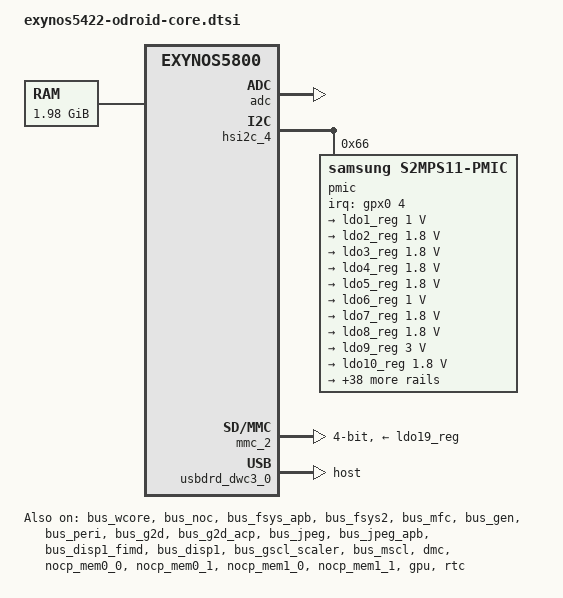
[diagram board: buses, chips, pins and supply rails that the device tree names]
// SPDX-License-Identifier: GPL-2.0
/*
 * Hardkernel Odroid XU3/XU3-Lite/XU4/HC1 boards core device tree source
 *
 * Copyright (c) 2017 Marek Szyprowski
 * Copyright (c) 2013-2017 Samsung Electronics Co., Ltd.
 *		http://www.samsung.com
 */

#include <dt-bindings/clock/samsung,s2mps11.h>
#include <dt-bindings/interrupt-controller/irq.h>
#include <dt-bindings/gpio/gpio.h>
#include "exynos5800.dtsi"
#include "exynos5422-cpus.dtsi"

/ {
	memory@40000000 {
		device_type = "memory";
		reg = <0x40000000 0x7EA00000>;
	};

	chosen {
		stdout-path = "serial2:115200n8";
	};

	firmware@2073000 {
		compatible = "samsung,secure-firmware";
		reg = <0x02073000 0x1000>;
	};

	fixed-rate-clocks {
		oscclk {
			compatible = "samsung,exynos5420-oscclk";
			clock-frequency = <24000000>;
		};
	};

	bus_wcore_opp_table: opp-table2 {
		compatible = "operating-points-v2";

		/* derived from 532MHz MPLL */
		opp00 {
			opp-hz = /bits/ 64 <88700000>;
			opp-microvolt = <925000 925000 1400000>;
		};
		opp01 {
			opp-hz = /bits/ 64 <133000000>;
			opp-microvolt = <950000 950000 1400000>;
		};
		opp02 {
			opp-hz = /bits/ 64 <177400000>;
			opp-microvolt = <950000 950000 1400000>;
		};
		opp03 {
			opp-hz = /bits/ 64 <266000000>;
			opp-microvolt = <950000 950000 1400000>;
		};
		opp04 {
			opp-hz = /bits/ 64 <532000000>;
			opp-microvolt = <1000000 1000000 1400000>;
		};
	};

	bus_noc_opp_table: opp-table3 {
		compatible = "operating-points-v2";

		/* derived from 666MHz CPLL */
		opp00 {
			opp-hz = /bits/ 64 <66600000>;
		};
		opp01 {
			opp-hz = /bits/ 64 <74000000>;
		};
		opp02 {
			opp-hz = /bits/ 64 <83250000>;
		};
		opp03 {
			opp-hz = /bits/ 64 <111000000>;
		};
	};

	bus_fsys_apb_opp_table: opp-table4 {
		compatible = "operating-points-v2";

		/* derived from 666MHz CPLL */
		opp00 {
			opp-hz = /bits/ 64 <111000000>;
		};
		opp01 {
			opp-hz = /bits/ 64 <222000000>;
		};
	};

	bus_fsys2_opp_table: opp-table5 {
		compatible = "operating-points-v2";

		/* derived from 600MHz DPLL */
		opp00 {
			opp-hz = /bits/ 64 <75000000>;
		};
		opp01 {
			opp-hz = /bits/ 64 <120000000>;
		};
		opp02 {
			opp-hz = /bits/ 64 <200000000>;
		};
	};

	bus_mfc_opp_table: opp-table6 {
		compatible = "operating-points-v2";

		/* derived from 666MHz CPLL */
		opp00 {
			opp-hz = /bits/ 64 <83250000>;
		};
		opp01 {
			opp-hz = /bits/ 64 <111000000>;
		};
		opp02 {
			opp-hz = /bits/ 64 <166500000>;
		};
		opp03 {
			opp-hz = /bits/ 64 <222000000>;
		};
		opp04 {
			opp-hz = /bits/ 64 <333000000>;
		};
	};

	bus_gen_opp_table: opp-table7 {
		compatible = "operating-points-v2";

		/* derived from 532MHz MPLL */
		opp00 {
			opp-hz = /bits/ 64 <88700000>;
		};
		opp01 {
			opp-hz = /bits/ 64 <133000000>;
		};
		opp02 {
			opp-hz = /bits/ 64 <178000000>;
		};
		opp03 {
			opp-hz = /bits/ 64 <266000000>;
		};
	};

	bus_peri_opp_table: opp-table8 {
		compatible = "operating-points-v2";

		/* derived from 666MHz CPLL */
		opp00 {
			opp-hz = /bits/ 64 <66600000>;
		};
	};

	bus_g2d_opp_table: opp-table9 {
		compatible = "operating-points-v2";

		/* derived from 666MHz CPLL */
		opp00 {
			opp-hz = /bits/ 64 <83250000>;
		};
		opp01 {
			opp-hz = /bits/ 64 <111000000>;
		};
		opp02 {
			opp-hz = /bits/ 64 <166500000>;
		};
		opp03 {
			opp-hz = /bits/ 64 <222000000>;
		};
		opp04 {
			opp-hz = /bits/ 64 <333000000>;
		};
	};

	bus_g2d_acp_opp_table: opp-table10 {
		compatible = "operating-points-v2";

		/* derived from 532MHz MPLL */
		opp00 {
			opp-hz = /bits/ 64 <66500000>;
		};
		opp01 {
			opp-hz = /bits/ 64 <133000000>;
		};
		opp02 {
			opp-hz = /bits/ 64 <178000000>;
		};
		opp03 {
			opp-hz = /bits/ 64 <266000000>;
		};
	};

	bus_jpeg_opp_table: opp-table11 {
		compatible = "operating-points-v2";

		/* derived from 600MHz DPLL */
		opp00 {
			opp-hz = /bits/ 64 <75000000>;
		};
		opp01 {
			opp-hz = /bits/ 64 <150000000>;
		};
		opp02 {
			opp-hz = /bits/ 64 <200000000>;
		};
		opp03 {
			opp-hz = /bits/ 64 <300000000>;
		};
	};

	bus_jpeg_apb_opp_table: opp-table12 {
		compatible = "operating-points-v2";

		/* derived from 666MHz CPLL */
		opp00 {
			opp-hz = /bits/ 64 <83250000>;
		};
		opp01 {
			opp-hz = /bits/ 64 <111000000>;
		};
		opp02 {
			opp-hz = /bits/ 64 <133000000>;
		};
		opp03 {
			opp-hz = /bits/ 64 <166500000>;
		};
	};

	bus_disp1_fimd_opp_table: opp-table13 {
		compatible = "operating-points-v2";

		/* derived from 600MHz DPLL */
		opp00 {
			opp-hz = /bits/ 64 <120000000>;
		};
		opp01 {
			opp-hz = /bits/ 64 <200000000>;
		};
	};

	bus_disp1_opp_table: opp-table14 {
		compatible = "operating-points-v2";

		/* derived from 600MHz DPLL */
		opp00 {
			opp-hz = /bits/ 64 <120000000>;
		};
		opp01 {
			opp-hz = /bits/ 64 <200000000>;
		};
		opp02 {
			opp-hz = /bits/ 64 <300000000>;
		};
	};

	bus_gscl_opp_table: opp-table15 {
		compatible = "operating-points-v2";

		/* derived from 600MHz DPLL */
		opp00 {
			opp-hz = /bits/ 64 <150000000>;
		};
		opp01 {
			opp-hz = /bits/ 64 <200000000>;
		};
		opp02 {
			opp-hz = /bits/ 64 <300000000>;
		};
	};

	bus_mscl_opp_table: opp-table16 {
		compatible = "operating-points-v2";

		/* derived from 666MHz CPLL */
		opp00 {
			opp-hz = /bits/ 64 <84000000>;
		};
		opp01 {
			opp-hz = /bits/ 64 <167000000>;
		};
		opp02 {
			opp-hz = /bits/ 64 <222000000>;
		};
		opp03 {
			opp-hz = /bits/ 64 <333000000>;
		};
		opp04 {
			opp-hz = /bits/ 64 <666000000>;
		};
	};

	dmc_opp_table: opp-table17 {
		compatible = "operating-points-v2";

		opp00 {
			opp-hz = /bits/ 64 <165000000>;
			opp-microvolt = <875000>;
		};
		opp01 {
			opp-hz = /bits/ 64 <206000000>;
			opp-microvolt = <875000>;
		};
		opp02 {
			opp-hz = /bits/ 64 <275000000>;
			opp-microvolt = <875000>;
		};
		opp03 {
			opp-hz = /bits/ 64 <413000000>;
			opp-microvolt = <887500>;
		};
		opp04 {
			opp-hz = /bits/ 64 <543000000>;
			opp-microvolt = <937500>;
		};
		opp05 {
			opp-hz = /bits/ 64 <633000000>;
			opp-microvolt = <1012500>;
		};
		opp06 {
			opp-hz = /bits/ 64 <728000000>;
			opp-microvolt = <1037500>;
		};
		opp07 {
			opp-hz = /bits/ 64 <825000000>;
			opp-microvolt = <1050000>;
		};
	};

	samsung_K3QF2F20DB: lpddr3 {
		compatible	= "samsung,K3QF2F20DB", "jedec,lpddr3";
		density		= <16384>;
		io-width	= <32>;
		#address-cells	= <1>;
		#size-cells	= <0>;

		tRFC-min-tck		= <17>;
		tRRD-min-tck		= <2>;
		tRPab-min-tck		= <2>;
		tRPpb-min-tck		= <2>;
		tRCD-min-tck		= <3>;
		tRC-min-tck		= <6>;
		tRAS-min-tck		= <5>;
		tWTR-min-tck		= <2>;
		tWR-min-tck		= <7>;
		tRTP-min-tck		= <2>;
		tW2W-C2C-min-tck	= <0>;
		tR2R-C2C-min-tck	= <0>;
		tWL-min-tck		= <8>;
		tDQSCK-min-tck		= <5>;
		tRL-min-tck		= <14>;
		tFAW-min-tck		= <5>;
		tXSR-min-tck		= <12>;
		tXP-min-tck		= <2>;
		tCKE-min-tck		= <2>;
		tCKESR-min-tck		= <2>;
		tMRD-min-tck		= <5>;

		timings_samsung_K3QF2F20DB_800mhz: timings@800000000 {
			compatible	= "jedec,lpddr3-timings";
			/* workaround: 'reg' shows max-freq */
			reg		= <800000000>;
			min-freq	= <100000000>;
			tRFC		= <65000>;
			tRRD		= <6000>;
			tRPab		= <12000>;
			tRPpb		= <12000>;
			tRCD		= <10000>;
			tRC		= <33750>;
			tRAS		= <23000>;
			tWTR		= <3750>;
			tWR		= <7500>;
			tRTP		= <3750>;
			tW2W-C2C	= <0>;
			tR2R-C2C	= <0>;
			tFAW		= <25000>;
			tXSR		= <70000>;
			tXP		= <3750>;
			tCKE		= <3750>;
			tCKESR		= <3750>;
			tMRD		= <7000>;
		};
	};
};

&adc {
	vdd-supply = <&ldo4_reg>;
	status = "okay";
};

&bus_wcore {
	operating-points-v2 = <&bus_wcore_opp_table>;
	devfreq-events = <&nocp_mem0_0>, <&nocp_mem0_1>,
			<&nocp_mem1_0>, <&nocp_mem1_1>;
	vdd-supply = <&buck3_reg>;
	exynos,saturation-ratio = <100>;
	status = "okay";
};

&bus_noc {
	operating-points-v2 = <&bus_noc_opp_table>;
	devfreq = <&bus_wcore>;
	status = "okay";
};

&bus_fsys_apb {
	operating-points-v2 = <&bus_fsys_apb_opp_table>;
	devfreq = <&bus_wcore>;
	status = "okay";
};

&bus_fsys2 {
	operating-points-v2 = <&bus_fsys2_opp_table>;
	devfreq = <&bus_wcore>;
	status = "okay";
};

&bus_mfc {
	operating-points-v2 = <&bus_mfc_opp_table>;
	devfreq = <&bus_wcore>;
	status = "okay";
};

&bus_gen {
	operating-points-v2 = <&bus_gen_opp_table>;
	devfreq = <&bus_wcore>;
	status = "okay";
};

&bus_peri {
	operating-points-v2 = <&bus_peri_opp_table>;
	devfreq = <&bus_wcore>;
	status = "okay";
};

&bus_g2d {
	operating-points-v2 = <&bus_g2d_opp_table>;
	devfreq = <&bus_wcore>;
	status = "okay";
};

&bus_g2d_acp {
	operating-points-v2 = <&bus_g2d_acp_opp_table>;
	devfreq = <&bus_wcore>;
	status = "okay";
};

&bus_jpeg {
	operating-points-v2 = <&bus_jpeg_opp_table>;
	devfreq = <&bus_wcore>;
	status = "okay";
};

&bus_jpeg_apb {
	operating-points-v2 = <&bus_jpeg_apb_opp_table>;
	devfreq = <&bus_wcore>;
	status = "okay";
};

&bus_disp1_fimd {
	operating-points-v2 = <&bus_disp1_fimd_opp_table>;
	devfreq = <&bus_wcore>;
	status = "okay";
};

&bus_disp1 {
	operating-points-v2 = <&bus_disp1_opp_table>;
	devfreq = <&bus_wcore>;
	status = "okay";
};

&bus_gscl_scaler {
	operating-points-v2 = <&bus_gscl_opp_table>;
	devfreq = <&bus_wcore>;
	status = "okay";
};

&bus_mscl {
	operating-points-v2 = <&bus_mscl_opp_table>;
	devfreq = <&bus_wcore>;
	status = "okay";
};

&cpu0 {
	cpu-supply = <&buck6_reg>;
};

&cpu4 {
	cpu-supply = <&buck2_reg>;
};

&dmc {
	devfreq-events = <&ppmu_event3_dmc0_0>,	<&ppmu_event3_dmc0_1>,
			<&ppmu_event3_dmc1_0>, <&ppmu_event3_dmc1_1>;
	device-handle = <&samsung_K3QF2F20DB>;
	operating-points-v2 = <&dmc_opp_table>;
	vdd-supply = <&buck1_reg>;
	status = "okay";
};

&hsi2c_4 {
	status = "okay";

	pmic@66 {
		compatible = "samsung,s2mps11-pmic";
		reg = <0x66>;
		samsung,s2mps11-acokb-ground;

		interrupt-parent = <&gpx0>;
		interrupts = <4 IRQ_TYPE_LEVEL_LOW>;
		pinctrl-names = "default";
		pinctrl-0 = <&s2mps11_irq>;
		wakeup-source;

		s2mps11_osc: clocks {
			compatible = "samsung,s2mps11-clk";
			#clock-cells = <1>;
			clock-output-names = "s2mps11_ap",
					"s2mps11_cp", "s2mps11_bt";
		};

		regulators {
			ldo1_reg: LDO1 {
				regulator-name = "vdd_ldo1";
				regulator-min-microvolt = <1000000>;
				regulator-max-microvolt = <1000000>;
				regulator-always-on;
			};

			ldo2_reg: LDO2 {
				regulator-name = "vdd_ldo2";
				regulator-min-microvolt = <1800000>;
				regulator-max-microvolt = <1800000>;
				regulator-always-on;
			};

			ldo3_reg: LDO3 {
				regulator-name = "vddq_mmc0";
				regulator-min-microvolt = <1800000>;
				regulator-max-microvolt = <1800000>;
			};

			ldo4_reg: LDO4 {
				regulator-name = "vdd_adc";
				regulator-min-microvolt = <1800000>;
				regulator-max-microvolt = <1800000>;

				regulator-state-mem {
					regulator-off-in-suspend;
				};
			};

			ldo5_reg: LDO5 {
				regulator-name = "vdd_ldo5";
				regulator-min-microvolt = <1800000>;
				regulator-max-microvolt = <1800000>;
				regulator-always-on;

				regulator-state-mem {
					regulator-off-in-suspend;
				};
			};

			ldo6_reg: LDO6 {
				regulator-name = "vdd_ldo6";
				regulator-min-microvolt = <1000000>;
				regulator-max-microvolt = <1000000>;
				regulator-always-on;

				regulator-state-mem {
					regulator-off-in-suspend;
				};
			};

			ldo7_reg: LDO7 {
				regulator-name = "vdd_ldo7";
				regulator-min-microvolt = <1800000>;
				regulator-max-microvolt = <1800000>;
				regulator-always-on;

				regulator-state-mem {
					regulator-off-in-suspend;
				};
			};

			ldo8_reg: LDO8 {
				regulator-name = "vdd_ldo8";
				regulator-min-microvolt = <1800000>;
				regulator-max-microvolt = <1800000>;
				regulator-always-on;

				regulator-state-mem {
					regulator-off-in-suspend;
				};
			};

			ldo9_reg: LDO9 {
				regulator-name = "vdd_ldo9";
				regulator-min-microvolt = <3000000>;
				regulator-max-microvolt = <3000000>;
				regulator-always-on;

				regulator-state-mem {
					regulator-off-in-suspend;
				};
			};

			ldo10_reg: LDO10 {
				regulator-name = "vdd_ldo10";
				regulator-min-microvolt = <1800000>;
				regulator-max-microvolt = <1800000>;
				regulator-always-on;

				regulator-state-mem {
					regulator-off-in-suspend;
				};
			};

			ldo11_reg: LDO11 {
				regulator-name = "vdd_ldo11";
				regulator-min-microvolt = <1000000>;
				regulator-max-microvolt = <1000000>;
				regulator-always-on;

				regulator-state-mem {
					regulator-off-in-suspend;
				};
			};

			ldo12_reg: LDO12 {
				/* Unused */
				regulator-name = "vdd_ldo12";
				regulator-min-microvolt = <800000>;
				regulator-max-microvolt = <2375000>;
			};

			ldo13_reg: LDO13 {
				regulator-name = "vddq_mmc2";
				regulator-min-microvolt = <1800000>;
				regulator-max-microvolt = <2800000>;

				regulator-state-mem {
					regulator-off-in-suspend;
				};
			};

			ldo14_reg: LDO14 {
				/* Unused */
				regulator-name = "vdd_ldo14";
				regulator-min-microvolt = <800000>;
				regulator-max-microvolt = <3950000>;
			};

			ldo15_reg: LDO15 {
				regulator-name = "vdd_ldo15";
				regulator-min-microvolt = <3300000>;
				regulator-max-microvolt = <3300000>;
				regulator-always-on;

				regulator-state-mem {
					regulator-off-in-suspend;
				};
			};

			ldo16_reg: LDO16 {
				/* Unused */
				regulator-name = "vdd_ldo16";
				regulator-min-microvolt = <800000>;
				regulator-max-microvolt = <3950000>;
			};

			ldo17_reg: LDO17 {
				regulator-name = "vdd_ldo17";
				regulator-min-microvolt = <3300000>;
				regulator-max-microvolt = <3300000>;
				regulator-always-on;

				regulator-state-mem {
					regulator-off-in-suspend;
				};
			};

			ldo18_reg: LDO18 {
				regulator-name = "vdd_emmc_1V8";
				regulator-min-microvolt = <1800000>;
				regulator-max-microvolt = <1800000>;

				regulator-state-mem {
					regulator-off-in-suspend;
				};
			};

			ldo19_reg: LDO19 {
				regulator-name = "vdd_sd";
				regulator-min-microvolt = <2800000>;
				regulator-max-microvolt = <2800000>;

				regulator-state-mem {
					regulator-off-in-suspend;
				};
			};

			ldo20_reg: LDO20 {
				/* Unused */
				regulator-name = "vdd_ldo20";
				regulator-min-microvolt = <800000>;
				regulator-max-microvolt = <3950000>;
			};

			ldo21_reg: LDO21 {
				/* Unused */
				regulator-name = "vdd_ldo21";
				regulator-min-microvolt = <800000>;
				regulator-max-microvolt = <3950000>;
			};

			ldo22_reg: LDO22 {
				/* Unused */
				regulator-name = "vdd_ldo22";
				regulator-min-microvolt = <800000>;
				regulator-max-microvolt = <2375000>;
			};

			ldo23_reg: LDO23 {
				regulator-name = "vdd_mifs";
				regulator-min-microvolt = <1100000>;
				regulator-max-microvolt = <1100000>;
				regulator-always-on;

				regulator-state-mem {
					regulator-off-in-suspend;
				};
			};

			ldo24_reg: LDO24 {
				/* Unused */
				regulator-name = "vdd_ldo24";
				regulator-min-microvolt = <800000>;
				regulator-max-microvolt = <3950000>;
			};

			ldo25_reg: LDO25 {
				/* Unused */
				regulator-name = "vdd_ldo25";
				regulator-min-microvolt = <800000>;
				regulator-max-microvolt = <3950000>;
			};

			ldo26_reg: LDO26 {
				/* Used on XU3, XU3-Lite and XU4 */
				regulator-name = "vdd_ldo26";
				regulator-min-microvolt = <800000>;
				regulator-max-microvolt = <3950000>;

				regulator-state-mem {
					regulator-off-in-suspend;
				};
			};

			ldo27_reg: LDO27 {
				regulator-name = "vdd_g3ds";
				regulator-min-microvolt = <1000000>;
				regulator-max-microvolt = <1000000>;
				regulator-always-on;

				regulator-state-mem {
					regulator-off-in-suspend;
				};
			};

			ldo28_reg: LDO28 {
				/* Used on XU3 */
				regulator-name = "vdd_ldo28";
				regulator-min-microvolt = <800000>;
				regulator-max-microvolt = <3950000>;

				regulator-state-mem {
					regulator-off-in-suspend;
				};
			};

			ldo29_reg: LDO29 {
				/* Unused */
				regulator-name = "vdd_ldo29";
				regulator-min-microvolt = <800000>;
				regulator-max-microvolt = <3950000>;
			};

			ldo30_reg: LDO30 {
				/* Unused */
				regulator-name = "vdd_ldo30";
				regulator-min-microvolt = <800000>;
				regulator-max-microvolt = <3950000>;
			};

			ldo31_reg: LDO31 {
				/* Unused */
				regulator-name = "vdd_ldo31";
				regulator-min-microvolt = <800000>;
				regulator-max-microvolt = <3950000>;
			};

			ldo32_reg: LDO32 {
				/* Unused */
				regulator-name = "vdd_ldo32";
				regulator-min-microvolt = <800000>;
				regulator-max-microvolt = <3950000>;
			};

			ldo33_reg: LDO33 {
				/* Unused */
				regulator-name = "vdd_ldo33";
				regulator-min-microvolt = <800000>;
				regulator-max-microvolt = <3950000>;
			};

			ldo34_reg: LDO34 {
				/* Unused */
				regulator-name = "vdd_ldo34";
				regulator-min-microvolt = <800000>;
				regulator-max-microvolt = <3950000>;
			};

			ldo35_reg: LDO35 {
				/* Unused */
				regulator-name = "vdd_ldo35";
				regulator-min-microvolt = <800000>;
				regulator-max-microvolt = <2375000>;
			};

			ldo36_reg: LDO36 {
				/* Unused */
				regulator-name = "vdd_ldo36";
				regulator-min-microvolt = <800000>;
				regulator-max-microvolt = <3950000>;
			};

			ldo37_reg: LDO37 {
				/* Unused */
				regulator-name = "vdd_ldo37";
				regulator-min-microvolt = <800000>;
				regulator-max-microvolt = <3950000>;
			};

			ldo38_reg: LDO38 {
				/* Unused */
				regulator-name = "vdd_ldo38";
				regulator-min-microvolt = <800000>;
				regulator-max-microvolt = <3950000>;
			};

			buck1_reg: BUCK1 {
				regulator-name = "vdd_mif";
				regulator-min-microvolt = <800000>;
				regulator-max-microvolt = <1300000>;
				regulator-always-on;
				regulator-boot-on;

				regulator-state-mem {
					regulator-off-in-suspend;
				};
			};

			buck2_reg: BUCK2 {
				regulator-name = "vdd_arm";
				regulator-min-microvolt = <800000>;
				regulator-max-microvolt = <1500000>;
				regulator-always-on;
				regulator-boot-on;
				regulator-coupled-with = <&buck3_reg>;
				regulator-coupled-max-spread = <300000>;

				regulator-state-mem {
					regulator-off-in-suspend;
				};
			};

			buck3_reg: BUCK3 {
				regulator-name = "vdd_int";
				regulator-min-microvolt = <800000>;
				regulator-max-microvolt = <1400000>;
				regulator-always-on;
				regulator-boot-on;
				regulator-coupled-with = <&buck2_reg>;
				regulator-coupled-max-spread = <300000>;

				regulator-state-mem {
					regulator-off-in-suspend;
				};
			};

			buck4_reg: BUCK4 {
				regulator-name = "vdd_g3d";
				regulator-min-microvolt = <800000>;
				regulator-max-microvolt = <1400000>;
				regulator-boot-on;
				regulator-always-on;

				regulator-state-mem {
					regulator-off-in-suspend;
				};
			};

			buck5_reg: BUCK5 {
				regulator-name = "vdd_mem";
				regulator-min-microvolt = <800000>;
				regulator-max-microvolt = <1400000>;
				regulator-always-on;
				regulator-boot-on;
			};

			buck6_reg: BUCK6 {
				regulator-name = "vdd_kfc";
				regulator-min-microvolt = <800000>;
				regulator-max-microvolt = <1500000>;
				regulator-always-on;
				regulator-boot-on;

				regulator-state-mem {
					regulator-off-in-suspend;
				};
			};

			buck7_reg: BUCK7 {
				regulator-name = "vdd_1.35v_ldo";
				regulator-min-microvolt = <1200000>;
				regulator-max-microvolt = <1500000>;
				regulator-always-on;
				regulator-boot-on;
			};

			buck8_reg: BUCK8 {
				regulator-name = "vdd_2.0v_ldo";
				regulator-min-microvolt = <1800000>;
				regulator-max-microvolt = <2100000>;
				regulator-always-on;
				regulator-boot-on;
			};

			buck9_reg: BUCK9 {
				regulator-name = "vdd_2.8v_ldo";
				regulator-min-microvolt = <3000000>;
				regulator-max-microvolt = <3750000>;
				regulator-always-on;
				regulator-boot-on;

				regulator-state-mem {
					regulator-off-in-suspend;
				};
			};

			buck10_reg: BUCK10 {
				regulator-name = "vdd_vmem";
				regulator-min-microvolt = <2850000>;
				regulator-max-microvolt = <2850000>;

				regulator-state-mem {
					regulator-off-in-suspend;
				};
			};
		};
	};
};

&mmc_2 {
	status = "okay";
	card-detect-delay = <200>;
	samsung,dw-mshc-ciu-div = <3>;
	samsung,dw-mshc-sdr-timing = <0 4>;
	samsung,dw-mshc-ddr-timing = <0 2>;
	pinctrl-names = "default";
	pinctrl-0 = <&sd2_clk &sd2_cmd &sd2_cd &sd2_wp &sd2_bus1 &sd2_bus4>;
	bus-width = <4>;
	cap-sd-highspeed;
	max-frequency = <200000000>;
	vmmc-supply = <&ldo19_reg>;
	vqmmc-supply = <&ldo13_reg>;
	sd-uhs-sdr50;
	sd-uhs-sdr104;
	sd-uhs-ddr50;
};

&nocp_mem0_0 {
	status = "okay";
};

&nocp_mem0_1 {
	status = "okay";
};

&nocp_mem1_0 {
	status = "okay";
};

&nocp_mem1_1 {
	status = "okay";
};

&pinctrl_0 {
	s2mps11_irq: s2mps11-irq-pins {
		samsung,pins = "gpx0-4";
		samsung,pin-function = <EXYNOS_PIN_FUNC_F>;
		samsung,pin-pud = <EXYNOS_PIN_PULL_NONE>;
		samsung,pin-drv = <EXYNOS5420_PIN_DRV_LV1>;
	};
};

&ppmu_dmc0_0 {
	status = "okay";
};

&ppmu_dmc0_1 {
	status = "okay";
};

&ppmu_dmc1_0 {
	status = "okay";
};

&ppmu_dmc1_1 {
	status = "okay";
};

&tmu_cpu0 {
	vtmu-supply = <&ldo7_reg>;
};

&tmu_cpu1 {
	vtmu-supply = <&ldo7_reg>;
};

&tmu_cpu2 {
	vtmu-supply = <&ldo7_reg>;
};

&tmu_cpu3 {
	vtmu-supply = <&ldo7_reg>;
};

&tmu_gpu {
	vtmu-supply = <&ldo7_reg>;
};

&gpu {
	mali-supply = <&buck4_reg>;
	status = "okay";
};

&rtc {
	status = "okay";
	clocks = <&clock CLK_RTC>, <&s2mps11_osc S2MPS11_CLK_AP>;
	clock-names = "rtc", "rtc_src";
};

&usbdrd_dwc3_0 {
	dr_mode = "host";
};

/* usbdrd_dwc3_1 mode customized in each board */

&usbdrd3_0 {
	vdd33-supply = <&ldo9_reg>;
	vdd10-supply = <&ldo11_reg>;
};

&usbdrd3_1 {
	vdd33-supply = <&ldo9_reg>;
	vdd10-supply = <&ldo11_reg>;
};
